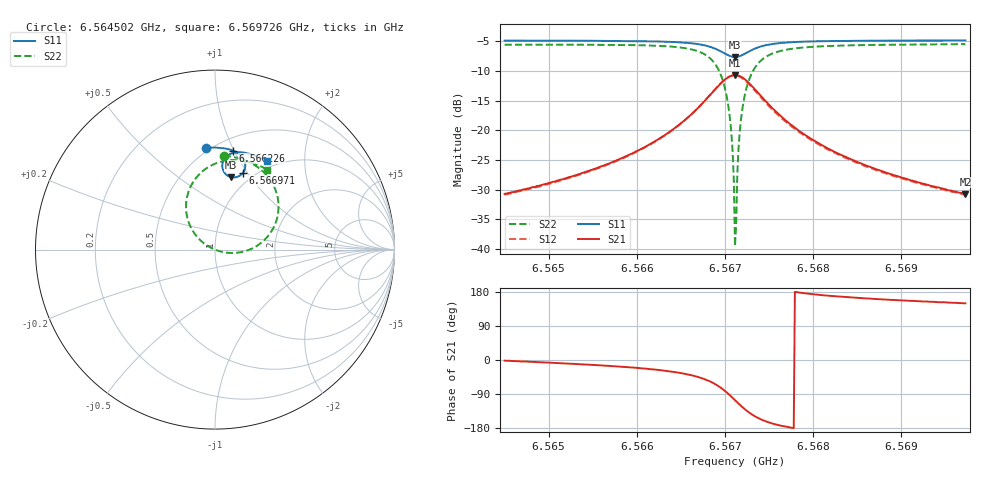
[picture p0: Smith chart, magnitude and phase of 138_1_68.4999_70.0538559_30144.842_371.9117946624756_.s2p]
#  HZ  S  RI  R  50.00
! Rohde & Schwarz Vector Network Analyzer
! Rohde-Schwarz,ZNB20-2Port,1311601062101988,3.16
! Created: UTC 3/20/2024, 5:09:54 PM
! freq[Hz]  re:S11  im:S11  re:S21  im:S21  re:S12  im:S12  re:S22  im:S22
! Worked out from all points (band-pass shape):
!   401 points, 6.564502 GHz to 6.569726 GHz, reference 50 ohm
!   highest |S21| = -10.69 dB at 6.567114 GHz (marker M1); lowest = -30.7 dB at 6.569726 GHz (marker M2)
!   |S21| within 3 dB of the highest: 6.566854 GHz to 6.567376 GHz (521.9 kHz wide, 0.00795 % of centre)
!   lowest |S11| = -7.7 dB at 6.567114 GHz (marker M3), VSWR 2.41, Z = 41.9 + j40.8 ohm
!   |S11| at or under -10 dB: nowhere
!   |S22| runs from -39.5 to -5.5 dB; largest |S21 - S12| = 0.014
!   S11 on the Smith chart (normalised r, x): 6.564502 GHz: 0.47, +0.79; 6.566226 GHz: 0.62, +0.99; 6.566971 GHz: 0.89, +0.95; 6.569726 GHz: 0.90, +1.32
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6.5645021e9  -0.0517 0.5667  0.0292 -0.000876  0.0286 -0.00136  0.0487 0.5234
6.5653772e9  0.0205 0.5674  0.0428 -0.00863  0.042 -0.00913  0.1331 0.5087
6.5662261e9  0.1014 0.551  0.0743 -0.0358  0.0731 -0.0367  0.2487 0.4513
6.5662522e9  0.1044 0.5497  0.0759 -0.0378  0.0748 -0.0386  0.2536 0.4475
6.5667485e9  0.1629 0.4972  0.1116 -0.1279  0.109 -0.1303  0.3521 0.2723
6.5668791e9  0.1685 0.4605  0.1007 -0.1918  0.0958 -0.1955  0.338 0.1498
6.5669705e9  0.1557 0.4277  0.0613 -0.2481  0.0527 -0.2511  0.2661 0.0453
6.5670097e9  0.1429 0.4149  0.0312 -0.2689  0.0208 -0.2707  0.2103 0.00778
6.5670489e9  0.1256 0.4056  -0.00722 -0.2829  -0.0191 -0.2822  0.1402 -0.0151
6.567075e9  0.112 0.4025  -0.0358 -0.2863  -0.0484 -0.2837  0.0882 -0.0189
6.5671011e9  0.0978 0.4025  -0.0655 -0.284  -0.078 -0.2792  0.0354 -0.0116
6.5671142e9  0.0907 0.4035  -0.0801 -0.2808  -0.0924 -0.2746  0.00967 -0.00428
6.5671272e9  0.0838 0.4054  -0.0943 -0.2759  -0.1062 -0.2687  -0.0149 0.00598
6.5671403e9  0.0773 0.4081  -0.1081 -0.2698  -0.1193 -0.2615  -0.0381 0.0187
6.5671664e9  0.0652 0.4156  -0.133 -0.2538  -0.1427 -0.2439  -0.0796 0.0499
6.5671925e9  0.0554 0.425  -0.1534 -0.2344  -0.1613 -0.2231  -0.1124 0.0873
6.5672448e9  0.0434 0.4474  -0.1801 -0.1898  -0.1841 -0.1779  -0.1519 0.1687
6.5673101e9  0.041 0.4746  -0.1901 -0.1365  -0.1904 -0.1258  -0.1606 0.2627
6.5675582e9  0.0795 0.5297  -0.1458 -0.0283  -0.1425 -0.0239  -0.0586 0.445
6.5679892e9  0.1427 0.5422  -0.0831 0.00898  -0.0812 0.0103  0.0809 0.498
6.5688642e9  0.2257 0.5224  -0.0403 0.0155  -0.0393 0.0158  0.2118 0.4811
6.5697262e9  0.29 0.4917  -0.0251 0.0147  -0.0246 0.0148  0.289 0.4463
